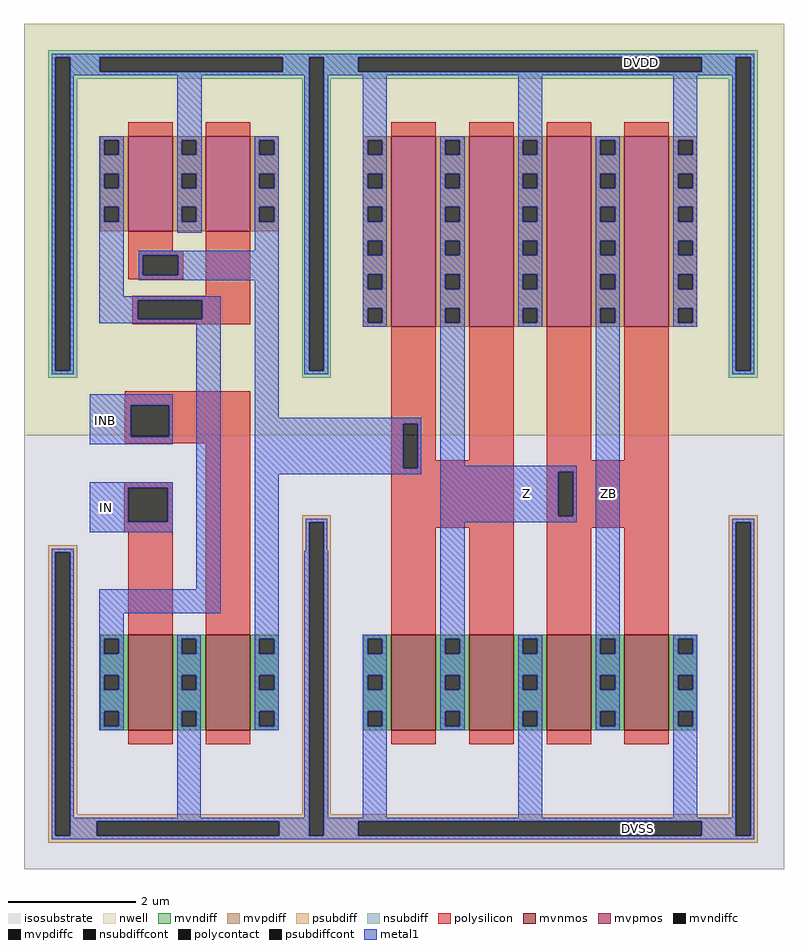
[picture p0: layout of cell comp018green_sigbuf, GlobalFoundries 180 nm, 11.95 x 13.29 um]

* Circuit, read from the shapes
.subckt comp018green_sigbuf Z DVSS DVDD ZB
XM1 DVSS IN n1 DVSS nfet_06v0 w=1.5u l=0.7u
XM2 n2 INB DVSS DVSS nfet_06v0 w=1.5u l=0.7u
XM3 Z n2 DVSS DVSS nfet_06v0 w=1.5u l=0.7u m=2
XM4 ZB Z DVSS DVSS nfet_06v0 w=1.5u l=0.7u m=2
XM5 DVDD n2 n1 DVDD pfet_06v0 w=1.5u l=0.7u
XM6 n2 n1 DVDD DVDD pfet_06v0 w=1.5u l=0.7u
XM7 Z n2 DVDD DVDD pfet_06v0 w=3u l=0.7u m=2
XM8 ZB Z DVDD DVDD pfet_06v0 w=3u l=0.7u m=2
.ends

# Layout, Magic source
magic
tech gf180mcuD
magscale 1 10
<< isosubstrate >>
rect 406 -83 2795 2575
<< nwell >>
rect 1197 1281 2795 2575
<< mvnmos >>
rect 1561 354 1701 654
rect 1805 354 1945 654
rect 2049 354 2189 654
rect 2293 354 2433 654
<< mvpmos >>
rect 1561 1622 1701 2222
rect 1805 1622 1945 2222
rect 2049 1622 2189 2222
rect 2293 1622 2433 2222
<< mvndiff >>
rect 1473 641 1561 654
rect 1473 595 1486 641
rect 1532 595 1561 641
rect 1473 527 1561 595
rect 1473 481 1486 527
rect 1532 481 1561 527
rect 1473 413 1561 481
rect 1473 367 1486 413
rect 1532 367 1561 413
rect 1473 354 1561 367
rect 1701 641 1805 654
rect 1701 595 1730 641
rect 1776 595 1805 641
rect 1701 527 1805 595
rect 1701 481 1730 527
rect 1776 481 1805 527
rect 1701 413 1805 481
rect 1701 367 1730 413
rect 1776 367 1805 413
rect 1701 354 1805 367
rect 1945 641 2049 654
rect 1945 595 1974 641
rect 2020 595 2049 641
rect 1945 527 2049 595
rect 1945 481 1974 527
rect 2020 481 2049 527
rect 1945 413 2049 481
rect 1945 367 1974 413
rect 2020 367 2049 413
rect 1945 354 2049 367
rect 2189 641 2293 654
rect 2189 595 2218 641
rect 2264 595 2293 641
rect 2189 527 2293 595
rect 2189 481 2218 527
rect 2264 481 2293 527
rect 2189 413 2293 481
rect 2189 367 2218 413
rect 2264 367 2293 413
rect 2189 354 2293 367
rect 2433 641 2521 654
rect 2433 595 2462 641
rect 2508 595 2521 641
rect 2433 527 2521 595
rect 2433 481 2462 527
rect 2508 481 2521 527
rect 2433 413 2521 481
rect 2433 367 2462 413
rect 2508 367 2521 413
rect 2433 354 2521 367
<< mvpdiff >>
rect 1473 2209 1561 2222
rect 1473 2163 1486 2209
rect 1532 2163 1561 2209
rect 1473 2104 1561 2163
rect 1473 2058 1486 2104
rect 1532 2058 1561 2104
rect 1473 1999 1561 2058
rect 1473 1953 1486 1999
rect 1532 1953 1561 1999
rect 1473 1893 1561 1953
rect 1473 1847 1486 1893
rect 1532 1847 1561 1893
rect 1473 1787 1561 1847
rect 1473 1741 1486 1787
rect 1532 1741 1561 1787
rect 1473 1681 1561 1741
rect 1473 1635 1486 1681
rect 1532 1635 1561 1681
rect 1473 1622 1561 1635
rect 1701 2209 1805 2222
rect 1701 2163 1730 2209
rect 1776 2163 1805 2209
rect 1701 2104 1805 2163
rect 1701 2058 1730 2104
rect 1776 2058 1805 2104
rect 1701 1999 1805 2058
rect 1701 1953 1730 1999
rect 1776 1953 1805 1999
rect 1701 1893 1805 1953
rect 1701 1847 1730 1893
rect 1776 1847 1805 1893
rect 1701 1787 1805 1847
rect 1701 1741 1730 1787
rect 1776 1741 1805 1787
rect 1701 1681 1805 1741
rect 1701 1635 1730 1681
rect 1776 1635 1805 1681
rect 1701 1622 1805 1635
rect 1945 2209 2049 2222
rect 1945 2163 1974 2209
rect 2020 2163 2049 2209
rect 1945 2104 2049 2163
rect 1945 2058 1974 2104
rect 2020 2058 2049 2104
rect 1945 1999 2049 2058
rect 1945 1953 1974 1999
rect 2020 1953 2049 1999
rect 1945 1893 2049 1953
rect 1945 1847 1974 1893
rect 2020 1847 2049 1893
rect 1945 1787 2049 1847
rect 1945 1741 1974 1787
rect 2020 1741 2049 1787
rect 1945 1681 2049 1741
rect 1945 1635 1974 1681
rect 2020 1635 2049 1681
rect 1945 1622 2049 1635
rect 2189 2209 2293 2222
rect 2189 2163 2218 2209
rect 2264 2163 2293 2209
rect 2189 2104 2293 2163
rect 2189 2058 2218 2104
rect 2264 2058 2293 2104
rect 2189 1999 2293 2058
rect 2189 1953 2218 1999
rect 2264 1953 2293 1999
rect 2189 1893 2293 1953
rect 2189 1847 2218 1893
rect 2264 1847 2293 1893
rect 2189 1787 2293 1847
rect 2189 1741 2218 1787
rect 2264 1741 2293 1787
rect 2189 1681 2293 1741
rect 2189 1635 2218 1681
rect 2264 1635 2293 1681
rect 2189 1622 2293 1635
rect 2433 2209 2521 2222
rect 2433 2163 2462 2209
rect 2508 2163 2521 2209
rect 2433 2104 2521 2163
rect 2433 2058 2462 2104
rect 2508 2058 2521 2104
rect 2433 1999 2521 2058
rect 2433 1953 2462 1999
rect 2508 1953 2521 1999
rect 2433 1893 2521 1953
rect 2433 1847 2462 1893
rect 2508 1847 2521 1893
rect 2433 1787 2521 1847
rect 2433 1741 2462 1787
rect 2508 1741 2521 1787
rect 2433 1681 2521 1741
rect 2433 1635 2462 1681
rect 2508 1635 2521 1681
rect 2433 1622 2521 1635
<< mvndiffc >>
rect 1486 595 1532 641
rect 1486 481 1532 527
rect 1486 367 1532 413
rect 1730 595 1776 641
rect 1730 481 1776 527
rect 1730 367 1776 413
rect 1974 595 2020 641
rect 1974 481 2020 527
rect 1974 367 2020 413
rect 2218 595 2264 641
rect 2218 481 2264 527
rect 2218 367 2264 413
rect 2462 595 2508 641
rect 2462 481 2508 527
rect 2462 367 2508 413
<< mvpdiffc >>
rect 1486 2163 1532 2209
rect 1486 2058 1532 2104
rect 1486 1953 1532 1999
rect 1486 1847 1532 1893
rect 1486 1741 1532 1787
rect 1486 1635 1532 1681
rect 1730 2163 1776 2209
rect 1730 2058 1776 2104
rect 1730 1953 1776 1999
rect 1730 1847 1776 1893
rect 1730 1741 1776 1787
rect 1730 1635 1776 1681
rect 1974 2163 2020 2209
rect 1974 2058 2020 2104
rect 1974 1953 2020 1999
rect 1974 1847 2020 1893
rect 1974 1741 2020 1787
rect 1974 1635 2020 1681
rect 2218 2163 2264 2209
rect 2218 2058 2264 2104
rect 2218 1953 2264 1999
rect 2218 1847 2264 1893
rect 2218 1741 2264 1787
rect 2218 1635 2264 1681
rect 2462 2163 2508 2209
rect 2462 2058 2508 2104
rect 2462 1953 2508 1999
rect 2462 1847 2508 1893
rect 2462 1741 2508 1787
rect 2462 1635 2508 1681
<< psubdiff >>
rect 1280 1008 1370 1030
rect 1280 22 1302 1008
rect 1348 90 1370 1008
rect 2622 1008 2712 1030
rect 2622 90 2644 1008
rect 1348 68 2644 90
rect 1348 22 1456 68
rect 2536 22 2644 68
rect 2690 22 2712 1008
rect 1280 0 2712 22
<< nsubdiff >>
rect 1280 2470 2712 2492
rect 1280 1484 1302 2470
rect 1348 2424 1456 2470
rect 2536 2424 2644 2470
rect 1348 2402 2644 2424
rect 1348 1484 1370 2402
rect 1280 1462 1370 1484
rect 2622 1484 2644 2402
rect 2690 1484 2712 2470
rect 2622 1462 2712 1484
<< psubdiffcont >>
rect 1302 22 1348 1008
rect 1456 22 2536 68
rect 2644 22 2690 1008
<< nsubdiffcont >>
rect 1302 1484 1348 2470
rect 1456 2424 2536 2470
rect 2644 1484 2690 2470
<< polysilicon >>
rect 1561 2222 1701 2266
rect 1805 2222 1945 2266
rect 2049 2222 2189 2266
rect 2293 2222 2433 2266
rect 1561 1317 1701 1622
rect 1561 1177 1598 1317
rect 1644 1202 1701 1317
rect 1805 1202 1945 1622
rect 1644 1177 1945 1202
rect 1561 991 1945 1177
rect 1561 654 1701 991
rect 1805 654 1945 991
rect 2049 1202 2189 1622
rect 2293 1202 2433 1622
rect 2049 1167 2433 1202
rect 2049 1027 2086 1167
rect 2132 1027 2433 1167
rect 2049 991 2433 1027
rect 2049 654 2189 991
rect 2293 654 2433 991
rect 1561 310 1701 354
rect 1805 310 1945 354
rect 2049 310 2189 354
rect 2293 310 2433 354
<< polycontact >>
rect 1598 1177 1644 1317
rect 2086 1027 2132 1167
<< metal1 >>
rect 1291 2470 2701 2481
rect 1291 1484 1302 2470
rect 1348 2424 1456 2470
rect 2536 2424 2644 2470
rect 1348 2413 2644 2424
rect 1348 1484 1359 2413
rect 1471 2209 1547 2413
rect 1471 2163 1486 2209
rect 1532 2163 1547 2209
rect 1471 2104 1547 2163
rect 1471 2058 1486 2104
rect 1532 2058 1547 2104
rect 1471 1999 1547 2058
rect 1471 1953 1486 1999
rect 1532 1953 1547 1999
rect 1471 1893 1547 1953
rect 1471 1847 1486 1893
rect 1532 1847 1547 1893
rect 1471 1787 1547 1847
rect 1471 1741 1486 1787
rect 1532 1741 1547 1787
rect 1471 1681 1547 1741
rect 1471 1635 1486 1681
rect 1532 1635 1547 1681
rect 1471 1622 1547 1635
rect 1715 2209 1791 2222
rect 1715 2163 1730 2209
rect 1776 2163 1791 2209
rect 1715 2104 1791 2163
rect 1715 2058 1730 2104
rect 1776 2058 1791 2104
rect 1715 1999 1791 2058
rect 1715 1953 1730 1999
rect 1776 1953 1791 1999
rect 1715 1893 1791 1953
rect 1715 1847 1730 1893
rect 1776 1847 1791 1893
rect 1715 1787 1791 1847
rect 1715 1741 1730 1787
rect 1776 1741 1791 1787
rect 1715 1681 1791 1741
rect 1715 1635 1730 1681
rect 1776 1635 1791 1681
rect 1291 1473 1359 1484
rect 613 1253 742 1410
rect 1199 1317 1655 1336
rect 1199 1177 1598 1317
rect 1644 1177 1655 1317
rect 1199 1158 1655 1177
rect 1715 1186 1791 1635
rect 1959 2209 2035 2413
rect 1959 2163 1974 2209
rect 2020 2163 2035 2209
rect 1959 2104 2035 2163
rect 1959 2058 1974 2104
rect 2020 2058 2035 2104
rect 1959 1999 2035 2058
rect 1959 1953 1974 1999
rect 2020 1953 2035 1999
rect 1959 1893 2035 1953
rect 1959 1847 1974 1893
rect 2020 1847 2035 1893
rect 1959 1787 2035 1847
rect 1959 1741 1974 1787
rect 2020 1741 2035 1787
rect 1959 1681 2035 1741
rect 1959 1635 1974 1681
rect 2020 1635 2035 1681
rect 1959 1622 2035 1635
rect 2203 2209 2279 2222
rect 2203 2163 2218 2209
rect 2264 2163 2279 2209
rect 2203 2104 2279 2163
rect 2203 2058 2218 2104
rect 2264 2058 2279 2104
rect 2203 1999 2279 2058
rect 2203 1953 2218 1999
rect 2264 1953 2279 1999
rect 2203 1893 2279 1953
rect 2203 1847 2218 1893
rect 2264 1847 2279 1893
rect 2203 1787 2279 1847
rect 2203 1741 2218 1787
rect 2264 1741 2279 1787
rect 2203 1681 2279 1741
rect 2203 1635 2218 1681
rect 2264 1635 2279 1681
rect 1715 1167 2143 1186
rect 613 976 734 1133
rect 1715 1027 2086 1167
rect 2132 1027 2143 1167
rect 1291 1008 1359 1019
rect 1291 22 1302 1008
rect 1348 79 1359 1008
rect 1715 1008 2143 1027
rect 1471 641 1547 654
rect 1471 595 1486 641
rect 1532 595 1547 641
rect 1471 527 1547 595
rect 1471 481 1486 527
rect 1532 481 1547 527
rect 1471 413 1547 481
rect 1471 367 1486 413
rect 1532 367 1547 413
rect 1471 79 1547 367
rect 1715 641 1791 1008
rect 1715 595 1730 641
rect 1776 595 1791 641
rect 1715 527 1791 595
rect 1715 481 1730 527
rect 1776 481 1791 527
rect 1715 413 1791 481
rect 1715 367 1730 413
rect 1776 367 1791 413
rect 1715 354 1791 367
rect 1959 641 2035 654
rect 1959 595 1974 641
rect 2020 595 2035 641
rect 1959 527 2035 595
rect 1959 481 1974 527
rect 2020 481 2035 527
rect 1959 413 2035 481
rect 1959 367 1974 413
rect 2020 367 2035 413
rect 1959 79 2035 367
rect 2203 641 2279 1635
rect 2447 2209 2523 2413
rect 2447 2163 2462 2209
rect 2508 2163 2523 2209
rect 2447 2104 2523 2163
rect 2447 2058 2462 2104
rect 2508 2058 2523 2104
rect 2447 1999 2523 2058
rect 2447 1953 2462 1999
rect 2508 1953 2523 1999
rect 2447 1893 2523 1953
rect 2447 1847 2462 1893
rect 2508 1847 2523 1893
rect 2447 1787 2523 1847
rect 2447 1741 2462 1787
rect 2508 1741 2523 1787
rect 2447 1681 2523 1741
rect 2447 1635 2462 1681
rect 2508 1635 2523 1681
rect 2447 1622 2523 1635
rect 2633 1484 2644 2413
rect 2690 1484 2701 2470
rect 2633 1473 2701 1484
rect 2633 1008 2701 1019
rect 2203 595 2218 641
rect 2264 595 2279 641
rect 2203 527 2279 595
rect 2203 481 2218 527
rect 2264 481 2279 527
rect 2203 413 2279 481
rect 2203 367 2218 413
rect 2264 367 2279 413
rect 2203 354 2279 367
rect 2447 641 2523 654
rect 2447 595 2462 641
rect 2508 595 2523 641
rect 2447 527 2523 595
rect 2447 481 2462 527
rect 2508 481 2523 527
rect 2447 413 2523 481
rect 2447 367 2462 413
rect 2508 367 2523 413
rect 2447 79 2523 367
rect 2633 79 2644 1008
rect 1348 68 2644 79
rect 1348 22 1456 68
rect 2536 22 2644 68
rect 2690 22 2701 1008
rect 1291 11 2701 22
use lvlshift_up  lvlshift_up_0
transform 1 0 -17781 0 1 -53410
box 18187 53410 19183 55985
<< labels >>
rlabel metal1 s 1987 1098 1987 1098 4 Z
port 1 nsew
rlabel metal1 s 2339 45 2339 45 4 DVSS
port 3 nsew
rlabel metal1 s 2348 2452 2348 2452 4 DVDD
port 4 nsew
rlabel metal1 s 2242 1098 2242 1098 4 ZB
port 7 nsew
rlabel metal1 661 1329 661 1329 0 INB
rlabel metal1 665 1054 665 1054 0 IN
<< end >>

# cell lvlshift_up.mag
magic
tech gf180mcuD
magscale 1 10
<< nwell >>
rect 18187 54691 19183 55985
<< mvnmos >>
rect 18514 53764 18654 54064
rect 18758 53764 18898 54064
<< mvpmos >>
rect 18514 55332 18654 55632
rect 18758 55332 18898 55632
<< mvndiff >>
rect 18426 54051 18514 54064
rect 18426 54005 18439 54051
rect 18485 54005 18514 54051
rect 18426 53937 18514 54005
rect 18426 53891 18439 53937
rect 18485 53891 18514 53937
rect 18426 53823 18514 53891
rect 18426 53777 18439 53823
rect 18485 53777 18514 53823
rect 18426 53764 18514 53777
rect 18654 54051 18758 54064
rect 18654 54005 18683 54051
rect 18729 54005 18758 54051
rect 18654 53937 18758 54005
rect 18654 53891 18683 53937
rect 18729 53891 18758 53937
rect 18654 53823 18758 53891
rect 18654 53777 18683 53823
rect 18729 53777 18758 53823
rect 18654 53764 18758 53777
rect 18898 54051 18988 54064
rect 18898 54005 18927 54051
rect 18973 54005 18988 54051
rect 18898 53937 18988 54005
rect 18898 53891 18927 53937
rect 18973 53891 18988 53937
rect 18898 53823 18988 53891
rect 18898 53777 18927 53823
rect 18973 53777 18988 53823
rect 18898 53764 18988 53777
<< mvpdiff >>
rect 18426 55619 18514 55632
rect 18426 55573 18439 55619
rect 18485 55573 18514 55619
rect 18426 55514 18514 55573
rect 18426 55468 18439 55514
rect 18485 55468 18514 55514
rect 18426 55409 18514 55468
rect 18426 55363 18439 55409
rect 18485 55363 18514 55409
rect 18426 55332 18514 55363
rect 18654 55619 18758 55632
rect 18654 55573 18683 55619
rect 18729 55573 18758 55619
rect 18654 55514 18758 55573
rect 18654 55468 18683 55514
rect 18729 55468 18758 55514
rect 18654 55409 18758 55468
rect 18654 55363 18683 55409
rect 18729 55363 18758 55409
rect 18654 55332 18758 55363
rect 18898 55619 18988 55632
rect 18898 55573 18927 55619
rect 18973 55573 18988 55619
rect 18898 55514 18988 55573
rect 18898 55468 18927 55514
rect 18973 55468 18988 55514
rect 18898 55409 18988 55468
rect 18898 55363 18927 55409
rect 18973 55363 18988 55409
rect 18898 55332 18988 55363
<< mvndiffc >>
rect 18439 54005 18485 54051
rect 18439 53891 18485 53937
rect 18439 53777 18485 53823
rect 18683 54005 18729 54051
rect 18683 53891 18729 53937
rect 18683 53777 18729 53823
rect 18927 54005 18973 54051
rect 18927 53891 18973 53937
rect 18927 53777 18973 53823
<< mvpdiffc >>
rect 18439 55573 18485 55619
rect 18439 55468 18485 55514
rect 18439 55363 18485 55409
rect 18683 55573 18729 55619
rect 18683 55468 18729 55514
rect 18683 55363 18729 55409
rect 18927 55573 18973 55619
rect 18927 55468 18973 55514
rect 18927 55363 18973 55409
<< psubdiff >>
rect 18264 54324 18354 54346
rect 18264 53432 18286 54324
rect 18332 53500 18354 54324
rect 19061 54418 19151 54440
rect 19061 53500 19083 54418
rect 18332 53478 19083 53500
rect 18332 53432 18416 53478
rect 18989 53432 19083 53478
rect 19129 53432 19151 54418
rect 18264 53410 19151 53432
<< nsubdiff >>
rect 18264 55880 19151 55902
rect 18264 54894 18286 55880
rect 18332 55834 18425 55880
rect 19000 55834 19083 55880
rect 18332 55812 19083 55834
rect 18332 54894 18354 55812
rect 18264 54872 18354 54894
rect 19061 54894 19083 55812
rect 19129 54894 19151 55880
rect 19061 54872 19151 54894
<< psubdiffcont >>
rect 18286 53432 18332 54324
rect 18416 53432 18989 53478
rect 19083 53432 19129 54418
<< nsubdiffcont >>
rect 18286 54894 18332 55880
rect 18425 55834 19000 55880
rect 19083 54894 19129 55880
<< polysilicon >>
rect 18514 55632 18654 55676
rect 18758 55632 18898 55676
rect 18514 55272 18654 55332
rect 18514 55257 18688 55272
rect 18514 55195 18560 55257
rect 18672 55195 18688 55257
rect 18514 55181 18688 55195
rect 18758 55130 18898 55332
rect 18528 55116 18898 55130
rect 18528 55056 18544 55116
rect 18747 55056 18898 55116
rect 18528 55040 18898 55056
rect 18504 54786 18898 54830
rect 18504 54687 18523 54786
rect 18644 54687 18898 54786
rect 18504 54667 18898 54687
rect 18502 54527 18654 54544
rect 18502 54420 18515 54527
rect 18639 54420 18654 54527
rect 18502 54386 18654 54420
rect 18514 54064 18654 54386
rect 18758 54064 18898 54667
rect 18514 53720 18654 53764
rect 18758 53720 18898 53764
<< polycontact >>
rect 18560 55195 18672 55257
rect 18544 55056 18747 55116
rect 18523 54687 18644 54786
rect 18515 54420 18639 54527
<< metal1 >>
rect 18275 55880 19144 55891
rect 18275 54894 18286 55880
rect 18332 55834 18425 55880
rect 19000 55834 19083 55880
rect 18332 55823 19083 55834
rect 18332 54894 18343 55823
rect 18424 55619 18500 55632
rect 18424 55573 18439 55619
rect 18485 55573 18500 55619
rect 18424 55514 18500 55573
rect 18424 55468 18439 55514
rect 18485 55468 18500 55514
rect 18424 55409 18500 55468
rect 18424 55363 18439 55409
rect 18485 55363 18500 55409
rect 18424 55129 18500 55363
rect 18668 55619 18745 55823
rect 18668 55573 18683 55619
rect 18729 55573 18745 55619
rect 18668 55514 18745 55573
rect 18668 55468 18683 55514
rect 18729 55468 18745 55514
rect 18668 55409 18745 55468
rect 18668 55363 18683 55409
rect 18729 55363 18745 55409
rect 18668 55328 18745 55363
rect 18912 55619 18988 55632
rect 18912 55573 18927 55619
rect 18973 55573 18988 55619
rect 18912 55514 18988 55573
rect 18912 55468 18927 55514
rect 18973 55468 18988 55514
rect 18912 55409 18988 55468
rect 18912 55363 18927 55409
rect 18973 55363 18988 55409
rect 18912 55272 18988 55363
rect 18547 55257 18988 55272
rect 18547 55195 18560 55257
rect 18672 55195 18988 55257
rect 18547 55178 18988 55195
rect 18424 55116 18805 55129
rect 18424 55056 18544 55116
rect 18747 55056 18805 55116
rect 18424 55043 18805 55056
rect 18275 54883 18343 54894
rect 18394 54786 18655 54820
rect 18394 54687 18523 54786
rect 18644 54687 18655 54786
rect 18394 54663 18655 54687
rect 18394 54527 18655 54543
rect 18394 54420 18515 54527
rect 18639 54420 18655 54527
rect 18394 54386 18655 54420
rect 18275 54324 18343 54335
rect 18275 53432 18286 54324
rect 18332 53489 18343 54324
rect 18729 54208 18805 55043
rect 18424 54132 18805 54208
rect 18424 54051 18500 54132
rect 18424 54005 18439 54051
rect 18485 54005 18500 54051
rect 18424 53937 18500 54005
rect 18424 53891 18439 53937
rect 18485 53891 18500 53937
rect 18424 53823 18500 53891
rect 18424 53777 18439 53823
rect 18485 53777 18500 53823
rect 18424 53764 18500 53777
rect 18668 54051 18743 54064
rect 18668 54005 18683 54051
rect 18729 54005 18743 54051
rect 18668 53937 18743 54005
rect 18668 53891 18683 53937
rect 18729 53891 18743 53937
rect 18668 53823 18743 53891
rect 18668 53777 18683 53823
rect 18729 53777 18743 53823
rect 18668 53489 18743 53777
rect 18912 54051 18988 55178
rect 19068 54894 19083 55823
rect 19129 54894 19144 55880
rect 19068 54883 19144 54894
rect 19072 54418 19140 54429
rect 19072 54329 19083 54418
rect 18912 54005 18927 54051
rect 18973 54005 18988 54051
rect 18912 53937 18988 54005
rect 18912 53891 18927 53937
rect 18973 53891 18988 53937
rect 18912 53823 18988 53891
rect 18912 53777 18927 53823
rect 18973 53777 18988 53823
rect 18912 53764 18988 53777
rect 19068 53489 19083 54329
rect 18332 53478 19083 53489
rect 18332 53432 18416 53478
rect 18989 53432 19083 53478
rect 19129 54329 19140 54418
rect 19129 53432 19144 54329
rect 18275 53421 19144 53432
<< end >>
